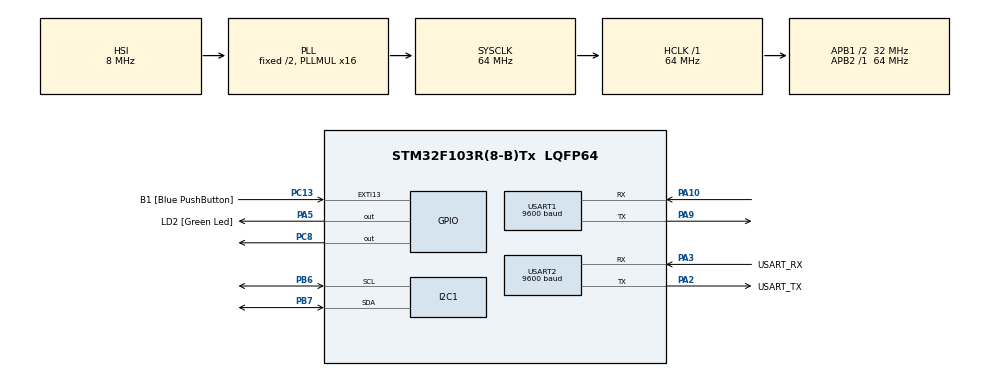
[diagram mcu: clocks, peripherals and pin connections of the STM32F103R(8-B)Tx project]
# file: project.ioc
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I2C1.I2C_Mode=I2C_Standard
I2C1.OwnAddress=0x77
Mcu.Family=STM32F1
Mcu.Name=STM32F103R(8-B)Tx
Mcu.Package=LQFP64
NVIC.EXTI15_10_IRQn=true\:0\:0\:false\:false\:true\:true\:true
NVIC.I2C1_EV_IRQn=true\:0\:0\:false\:false\:true\:true\:true
NVIC.PriorityGroup=NVIC_PRIORITYGROUP_4
NVIC.TIM2_IRQn=true\:0\:0\:false\:false\:true\:true\:true
NVIC.USART1_IRQn=true\:0\:0\:false\:false\:true\:true\:true
NVIC.USART2_IRQn=true\:0\:0\:false\:false\:true\:true\:true
PA10.Mode=Asynchronous
PA10.Signal=USART1_RX
PA13.GPIO_Label=TMS
PA13.Mode=Serial_Wire
PA13.Signal=SYS_JTMS-SWDIO
PA14.GPIO_Label=TCK
PA14.Mode=Serial_Wire
PA14.Signal=SYS_JTCK-SWCLK
PA2.GPIO_Label=USART_TX
PA2.GPIO_Mode=GPIO_MODE_AF_PP
PA2.GPIO_PuPd=GPIO_NOPULL
PA2.GPIO_Speed=GPIO_SPEED_FREQ_LOW
PA2.Mode=Asynchronous
PA2.Signal=USART2_TX
PA3.GPIO_Label=USART_RX
PA3.GPIO_Mode=GPIO_MODE_AF_PP
PA3.GPIO_PuPd=GPIO_NOPULL
PA3.GPIO_Speed=GPIO_SPEED_FREQ_LOW
PA3.Mode=Asynchronous
PA3.Signal=USART2_RX
PA5.GPIO_Label=LD2 [Green Led]
PA5.GPIO_ModeDefaultOutputPP=GPIO_MODE_OUTPUT_PP
PA5.GPIO_PuPd=GPIO_NOPULL
PA5.GPIO_Speed=GPIO_SPEED_FREQ_LOW
PA5.Signal=GPIO_Output
PA9.Mode=Asynchronous
PA9.Signal=USART1_TX
PB6.Mode=I2C
PB6.Signal=I2C1_SCL
PB7.Mode=I2C
PB7.Signal=I2C1_SDA
PC13-TAMPER-RTC.GPIO_Label=B1 [Blue PushButton]
PC13-TAMPER-RTC.GPIO_PuPd=GPIO_NOPULL
PC13-TAMPER-RTC.Signal=GPXTI13
PC14-OSC32_IN.Mode=LSE-External-Oscillator
PC14-OSC32_IN.Signal=RCC_OSC32_IN
PC15-OSC32_OUT.Mode=LSE-External-Oscillator
PC15-OSC32_OUT.Signal=RCC_OSC32_OUT
PC8.PinState=GPIO_PIN_RESET
PC8.Signal=GPIO_Output
PD0-OSC_IN.Mode=HSE-External-Clock-Source
PD0-OSC_IN.Signal=RCC_OSC_IN
PD1-OSC_OUT.Mode=HSE-External-Clock-Source
PD1-OSC_OUT.Signal=RCC_OSC_OUT
ProjectManager.HeapSize=0x200
ProjectManager.StackSize=0x400
ProjectManager.TargetToolchain=SW4STM32
RCC.AHBFreq_Value=64000000
RCC.APB1CLKDivider=RCC_HCLK_DIV2
RCC.APB1Freq_Value=32000000
RCC.APB1TimFreq_Value=64000000
RCC.APB2Freq_Value=64000000
RCC.APB2TimFreq_Value=64000000
RCC.HCLKFreq_Value=64000000
RCC.PLLMUL=RCC_PLL_MUL16
RCC.RTCClockSelection=RCC_RTCCLKSOURCE_LSE
RCC.SYSCLKFreq_VALUE=64000000
RCC.SYSCLKSource=RCC_SYSCLKSOURCE_PLLCLK
RCC.USBFreq_Value=64000000
TIM2.Period=7999
TIM2.Prescaler=39999
USART1.BaudRate=9600
USART1.VirtualMode=VM_ASYNC
USART2.BaudRate=9600
USART2.VirtualMode=VM_ASYNC
VP_TIM2_VS_ClockSourceINT.Mode=Internal
board=NUCLEO-F103RB

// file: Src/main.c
/* USER CODE BEGIN Header */
/**
  ******************************************************************************
  * @file           : main.c
  * @brief          : Main program body
  ******************************************************************************
  * @attention
  *
  * <h2><center>&copy; Copyright (c) 2020 STMicroelectronics.
  * All rights reserved.</center></h2>
  *
  * This software component is licensed by ST under BSD 3-Clause license,
  * the "License"; You may not use this file except in compliance with the
  * License. You may obtain a copy of the License at:
  *                        opensource.org/licenses/BSD-3-Clause
  *
  ******************************************************************************
  */
/* USER CODE END Header */

#include "main.h"

/* USER CODE BEGIN Includes */
#include "bme280.h"
/* USER CODE END Includes */

I2C_HandleTypeDef hi2c1;

TIM_HandleTypeDef htim2;

UART_HandleTypeDef huart1;
UART_HandleTypeDef huart2;

/* USER CODE BEGIN PV */
uint8_t Received1[1] = "a"; //bufor na wiadomoœci przychodz¹ce przez USB
uint8_t Received2[1] = "a"; //bufor na wiadomoœci pochodz¹ce z modu³u HC-05
uint8_t measure = 1; //flaga; 1-nale¿y przeprowadzic pomiar i czynnoœci z nim zwi¹zane
uint8_t err = 0; //wyst¹pi³ inny b³¹d w systemie
uint8_t not_measured = 0; //wyst¹pi³ b³¹d odczytu pomiarów
uint8_t byte = 0; //chip_id - do sprawdzenia czy komunikacja z czujnikiem przebiega prawid³owo
int8_t msg[200]; //bufor na wysy³an¹ wiadomoœc
uint16_t size = 0; //rozmiar wysy³anej wiadomoœci

struct bme280_dev bme280; //konfiguracja czujnika
struct bme280_data data; //struktura, do której zapisywane s¹ pomiary
/* USER CODE END PV */

void SystemClock_Config(void);
static void MX_GPIO_Init(void);
static void MX_TIM2_Init(void);
static void MX_USART2_UART_Init(void);
static void MX_I2C1_Init(void);
static void MX_USART1_UART_Init(void);

/* USER CODE BEGIN 0 */
void user_delay_ms(uint32_t period) {
	HAL_Delay(period);
};

int8_t user_i2c_read(uint8_t dev_id, uint8_t reg_addr, uint8_t *reg_data, uint16_t len){
	HAL_StatusTypeDef state = HAL_I2C_Mem_Read(&hi2c1,0xEE,reg_addr,1, reg_data,len, 100);
	if (state!=HAL_OK) return 1;
	else return 0;
};

int8_t user_i2c_write(uint8_t dev_id, uint8_t reg_addr, uint8_t *reg_data, uint16_t len){
	HAL_StatusTypeDef state = HAL_I2C_Mem_Write(&hi2c1,0xEE,reg_addr,1, reg_data,len, 100);
	if (state!=HAL_OK) return 1;
	else return 0;
};

int8_t get_sensor_data_forced_mode(struct bme280_dev *dev, struct bme280_data *comp_data){
    int8_t rslt;
    uint8_t settings_sel;
	uint32_t req_delay;

    /* Recommended mode of operation: Indoor navigation */
    dev->settings.osr_h = BME280_OVERSAMPLING_1X;
    dev->settings.osr_p = BME280_OVERSAMPLING_1X;
    dev->settings.osr_t = BME280_OVERSAMPLING_1X;
    dev->settings.filter = BME280_FILTER_COEFF_OFF;

    settings_sel = BME280_OSR_PRESS_SEL | BME280_OSR_TEMP_SEL | BME280_OSR_HUM_SEL | BME280_FILTER_SEL;

    rslt = bme280_set_sensor_settings(settings_sel, dev);

	/*Calculate the minimum delay required between consecutive measurement based upon the sensor enabled
     *  and the oversampling configuration. */
    req_delay = bme280_cal_meas_delay(&dev->settings);

    rslt = bme280_set_sensor_mode(BME280_FORCED_MODE, dev);
	/* Wait for the measurement to complete*/
	dev->delay_ms(req_delay);
	rslt = bme280_get_sensor_data(BME280_ALL, comp_data, dev);
    return rslt;
}

void HAL_TIM_PeriodElapsedCallback(TIM_HandleTypeDef *htim) {
	measure=1;
}

void HAL_UART_RxCpltCallback(UART_HandleTypeDef *huart){
	//HAL_GPIO_TogglePin(LD2_GPIO_Port, LD2_Pin);
	if (huart == &huart1){
		HAL_UART_Receive_IT(&huart1, &Received1, 1);
		HAL_UART_Transmit_IT(&huart2, "BT\n\r", 4);
		HAL_UART_Transmit_IT(&huart1, "BT\n\r", 4);
	}
	if (huart == &huart2){
		HAL_UART_Receive_IT(&huart2, &Received2, 1);
		HAL_UART_Transmit_IT(&huart1, "PC\n\r", 4);
		HAL_UART_Transmit_IT(&huart2, "PC\n\r", 4);
	}
	measure=1;
}

/* USER CODE END 0 */

int main(void)
{

  /* MCU Configuration--------------------------------------------------------*/

  /* Reset of all peripherals, Initializes the Flash interface and the Systick. */
  HAL_Init();

  /* Configure the system clock */
  SystemClock_Config();

  /* Initialize all configured peripherals */
  MX_GPIO_Init();
  MX_TIM2_Init();
  MX_USART2_UART_Init();
  MX_I2C1_Init();
  MX_USART1_UART_Init();
  /* USER CODE BEGIN 2 */
  HAL_GPIO_WritePin(GPIOC, GPIO_PIN_8, GPIO_PIN_SET);
  HAL_GPIO_WritePin(LD2_GPIO_Port, LD2_Pin, 1);
  //BME280 initialization
  while(byte!=BME280_CHIP_ID)
	  HAL_I2C_Mem_Read(&hi2c1, BME280_I2C_ADDR_SEC<<1, BME280_CHIP_ID_ADDR, 1, &byte,1, 10);
  HAL_GPIO_WritePin(LD2_GPIO_Port, LD2_Pin, 0);
  bme280.dev_id=BME280_I2C_ADDR_SEC;
  bme280.intf = BME280_I2C_INTF;
  bme280.read = user_i2c_read;
  bme280.write = user_i2c_write;
  bme280.delay_ms = user_delay_ms;
  bme280_init(&bme280);
  HAL_TIM_Base_Start_IT(&htim2);
  HAL_UART_Receive_IT(&huart1, &Received1, 1);
  HAL_UART_Receive_IT(&huart2, &Received2, 1);
  /* USER CODE END 2 */

  /* Infinite loop */
  while (1)
  {

    /* USER CODE BEGIN 3 */
	  if(measure){
		  not_measured = 0;
		  if (get_sensor_data_forced_mode(&bme280,&data)==BME280_OK){
			  size = sprintf(msg, "Temperatura: %ld.%ld C.   Cisnienie: %ld hP.   Wilgotnosc: %ld %%.\n\r", data.temperature/100, (data.temperature%100+5)/10, data.pressure/100,data.humidity/1024);
			  HAL_UART_Transmit(&huart2, msg, size,1000);
			  HAL_UART_Transmit(&huart1, msg, size,1000);
		  }
		  else not_measured = 1;
		  measure = 0;
		  HAL_GPIO_WritePin(GPIOC, GPIO_PIN_8, not_measured|err);
	  }
	  __WFI(); //wait for interruption
  }
  /* USER CODE END 3 */
}

void SystemClock_Config(void)
{
  RCC_OscInitTypeDef RCC_OscInitStruct = {0};
  RCC_ClkInitTypeDef RCC_ClkInitStruct = {0};

  /** Initializes the CPU, AHB and APB busses clocks
  */
  RCC_OscInitStruct.OscillatorType = RCC_OSCILLATORTYPE_HSI;
  RCC_OscInitStruct.HSIState = RCC_HSI_ON;
  RCC_OscInitStruct.HSICalibrationValue = RCC_HSICALIBRATION_DEFAULT;
  RCC_OscInitStruct.PLL.PLLState = RCC_PLL_ON;
  RCC_OscInitStruct.PLL.PLLSource = RCC_PLLSOURCE_HSI_DIV2;
  RCC_OscInitStruct.PLL.PLLMUL = RCC_PLL_MUL16;
  if (HAL_RCC_OscConfig(&RCC_OscInitStruct) != HAL_OK)
  {
    Error_Handler();
  }
  /** Initializes the CPU, AHB and APB busses clocks
  */
  RCC_ClkInitStruct.ClockType = RCC_CLOCKTYPE_HCLK|RCC_CLOCKTYPE_SYSCLK
                              |RCC_CLOCKTYPE_PCLK1|RCC_CLOCKTYPE_PCLK2;
  RCC_ClkInitStruct.SYSCLKSource = RCC_SYSCLKSOURCE_PLLCLK;
  RCC_ClkInitStruct.AHBCLKDivider = RCC_SYSCLK_DIV1;
  RCC_ClkInitStruct.APB1CLKDivider = RCC_HCLK_DIV2;
  RCC_ClkInitStruct.APB2CLKDivider = RCC_HCLK_DIV1;

  if (HAL_RCC_ClockConfig(&RCC_ClkInitStruct, FLASH_LATENCY_2) != HAL_OK)
  {
    Error_Handler();
  }
}

static void MX_I2C1_Init(void)
{

  hi2c1.Instance = I2C1;
  hi2c1.Init.ClockSpeed = 100000;
  hi2c1.Init.DutyCycle = I2C_DUTYCYCLE_2;
  hi2c1.Init.OwnAddress1 = 238;
  hi2c1.Init.AddressingMode = I2C_ADDRESSINGMODE_7BIT;
  hi2c1.Init.DualAddressMode = I2C_DUALADDRESS_DISABLE;
  hi2c1.Init.OwnAddress2 = 0;
  hi2c1.Init.GeneralCallMode = I2C_GENERALCALL_DISABLE;
  hi2c1.Init.NoStretchMode = I2C_NOSTRETCH_DISABLE;
  if (HAL_I2C_Init(&hi2c1) != HAL_OK)
  {
    Error_Handler();
  }

}

static void MX_TIM2_Init(void)
{

  TIM_ClockConfigTypeDef sClockSourceConfig = {0};
  TIM_MasterConfigTypeDef sMasterConfig = {0};

  /* USER CODE BEGIN TIM2_Init 1 */
  htim2.Init.RepetitionCounter = 0;
  /* USER CODE END TIM2_Init 1 */
  htim2.Instance = TIM2;
  htim2.Init.Prescaler = 39999;
  htim2.Init.CounterMode = TIM_COUNTERMODE_UP;
  htim2.Init.Period = 7999;
  htim2.Init.ClockDivision = TIM_CLOCKDIVISION_DIV1;
  htim2.Init.AutoReloadPreload = TIM_AUTORELOAD_PRELOAD_DISABLE;
  if (HAL_TIM_Base_Init(&htim2) != HAL_OK)
  {
    Error_Handler();
  }
  sClockSourceConfig.ClockSource = TIM_CLOCKSOURCE_INTERNAL;
  if (HAL_TIM_ConfigClockSource(&htim2, &sClockSourceConfig) != HAL_OK)
  {
    Error_Handler();
  }
  sMasterConfig.MasterOutputTrigger = TIM_TRGO_RESET;
  sMasterConfig.MasterSlaveMode = TIM_MASTERSLAVEMODE_DISABLE;
  if (HAL_TIMEx_MasterConfigSynchronization(&htim2, &sMasterConfig) != HAL_OK)
  {
    Error_Handler();
  }

}

static void MX_USART1_UART_Init(void)
{

  huart1.Instance = USART1;
  huart1.Init.BaudRate = 9600;
  huart1.Init.WordLength = UART_WORDLENGTH_8B;
  huart1.Init.StopBits = UART_STOPBITS_1;
  huart1.Init.Parity = UART_PARITY_NONE;
  huart1.Init.Mode = UART_MODE_TX_RX;
  huart1.Init.HwFlowCtl = UART_HWCONTROL_NONE;
  huart1.Init.OverSampling = UART_OVERSAMPLING_16;
  if (HAL_UART_Init(&huart1) != HAL_OK)
  {
    Error_Handler();
  }

}

static void MX_USART2_UART_Init(void)
{

  huart2.Instance = USART2;
  huart2.Init.BaudRate = 9600;
  huart2.Init.WordLength = UART_WORDLENGTH_8B;
  huart2.Init.StopBits = UART_STOPBITS_1;
  huart2.Init.Parity = UART_PARITY_NONE;
  huart2.Init.Mode = UART_MODE_TX_RX;
  huart2.Init.HwFlowCtl = UART_HWCONTROL_NONE;
  huart2.Init.OverSampling = UART_OVERSAMPLING_16;
  if (HAL_UART_Init(&huart2) != HAL_OK)
  {
    Error_Handler();
  }

}

static void MX_GPIO_Init(void)
{
  GPIO_InitTypeDef GPIO_InitStruct = {0};

  /* GPIO Ports Clock Enable */
  __HAL_RCC_GPIOC_CLK_ENABLE();
  __HAL_RCC_GPIOD_CLK_ENABLE();
  __HAL_RCC_GPIOA_CLK_ENABLE();
  __HAL_RCC_GPIOB_CLK_ENABLE();

  /*Configure GPIO pin Output Level */
  HAL_GPIO_WritePin(LD2_GPIO_Port, LD2_Pin, GPIO_PIN_RESET);

  /*Configure GPIO pin Output Level */
  HAL_GPIO_WritePin(GPIOC, GPIO_PIN_8, GPIO_PIN_RESET);

  /*Configure GPIO pin : B1_Pin */
  GPIO_InitStruct.Pin = B1_Pin;
  GPIO_InitStruct.Mode = GPIO_MODE_IT_RISING;
  GPIO_InitStruct.Pull = GPIO_NOPULL;
  HAL_GPIO_Init(B1_GPIO_Port, &GPIO_InitStruct);

  /*Configure GPIO pin : LD2_Pin */
  GPIO_InitStruct.Pin = LD2_Pin;
  GPIO_InitStruct.Mode = GPIO_MODE_OUTPUT_PP;
  GPIO_InitStruct.Pull = GPIO_NOPULL;
  GPIO_InitStruct.Speed = GPIO_SPEED_FREQ_LOW;
  HAL_GPIO_Init(LD2_GPIO_Port, &GPIO_InitStruct);

  /*Configure GPIO pin : PC8 */
  GPIO_InitStruct.Pin = GPIO_PIN_8;
  GPIO_InitStruct.Mode = GPIO_MODE_OUTPUT_PP;
  GPIO_InitStruct.Pull = GPIO_NOPULL;
  GPIO_InitStruct.Speed = GPIO_SPEED_FREQ_LOW;
  HAL_GPIO_Init(GPIOC, &GPIO_InitStruct);

  /* EXTI interrupt init*/
  HAL_NVIC_SetPriority(EXTI15_10_IRQn, 0, 0);
  HAL_NVIC_EnableIRQ(EXTI15_10_IRQn);

}

void Error_Handler(void)
{
  /* USER CODE BEGIN Error_Handler_Debug */
  /* User can add his own implementation to report the HAL error return state */
	err = 1;
	HAL_GPIO_WritePin(GPIOC, GPIO_PIN_8, err|not_measured);
  /* USER CODE END Error_Handler_Debug */
}

/************************ (C) COPYRIGHT STMicroelectronics *****END OF FILE****/
